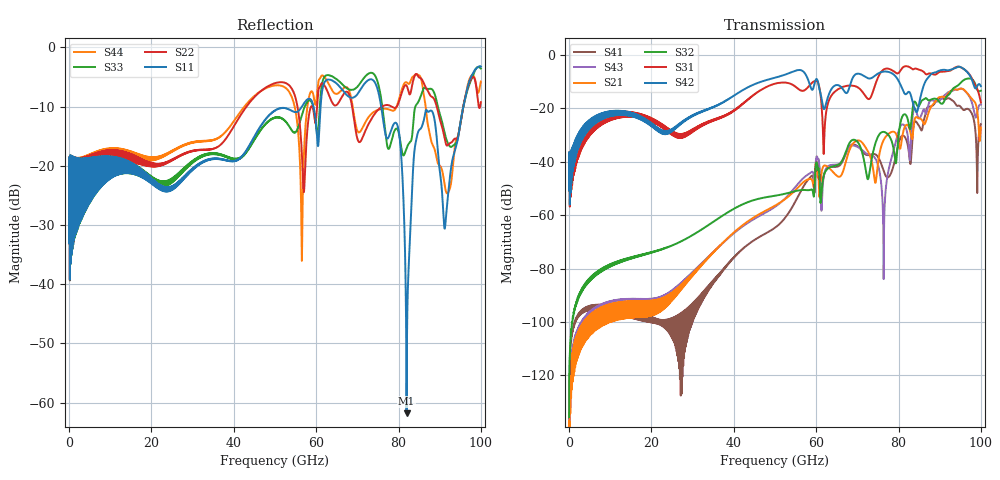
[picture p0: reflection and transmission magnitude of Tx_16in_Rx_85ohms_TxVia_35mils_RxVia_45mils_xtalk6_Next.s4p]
! Info: Touchstone file created by Circ.  Input file=Tx_16in_Rx_85ohms_TxVia_35mils_RxVia_45mils.circ
# Hz S RI R 50
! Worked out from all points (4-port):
!   10000 points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, 10 MHz to 100 GHz, reference 50 ohm
!   strongest paths, dB at 10 MHz, 25.01 GHz, 50.01 GHz, 75.01 GHz, 100 GHz:
!     S42: -50.7, -28.1, -8.5, -7.0, -11.7
!     S31: -50.7, -29.7, -10.8, -8.4, -17.8
!     S32: -135.7, -71.3, -52.7, -30.6, -13.4
!     S21: -145.2, -88.9, -56.4, -40.5, -27.2
!     S43: -143.7, -88.1, -56.9, -41.2, -18.6
!     S41: -135.7, -98.8, -64.7, -38.2, -25.9
!   lowest |S11| = -61.8 dB at 81.95 GHz (marker M1), VSWR 1.00, Z = 50.1 - j0.014 ohm
!   |S11| at or under -10 dB: start of sweep to 56.55 GHz; 59.33 GHz to 61.07 GHz (1.745 GHz wide, 2.9 % of centre); 75.78 GHz to 95.76 GHz (19.98 GHz wide, 23.3 % of centre)
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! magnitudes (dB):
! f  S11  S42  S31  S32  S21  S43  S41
! 10 MHz  -33.1  -50.7  -50.7  -135.7  -145.2  -143.7  -135.7
! 37.46 GHz  -18.9  -17.6  -22.8  -60.0  -70.2  -70.3  -80.3
! 73.43 GHz  -5.4  -8.7  -15.3  -39.5  -39.6  -37.6  -37.2
! 76.44 GHz  -13.1  -6.2  -5.4  -28.8  -31.7  -70.5  -43.7
! 81.95 GHz  -61.8  -14.6  -4.2  -22.8  -26.2  -28.1  -32.0
! 84.68 GHz  -14.5  -20.5  -5.4  -19.3  -23.6  -23.0  -25.8
! 100 GHz  -3.2  -11.7  -17.8  -13.4  -27.2  -18.6  -25.9
